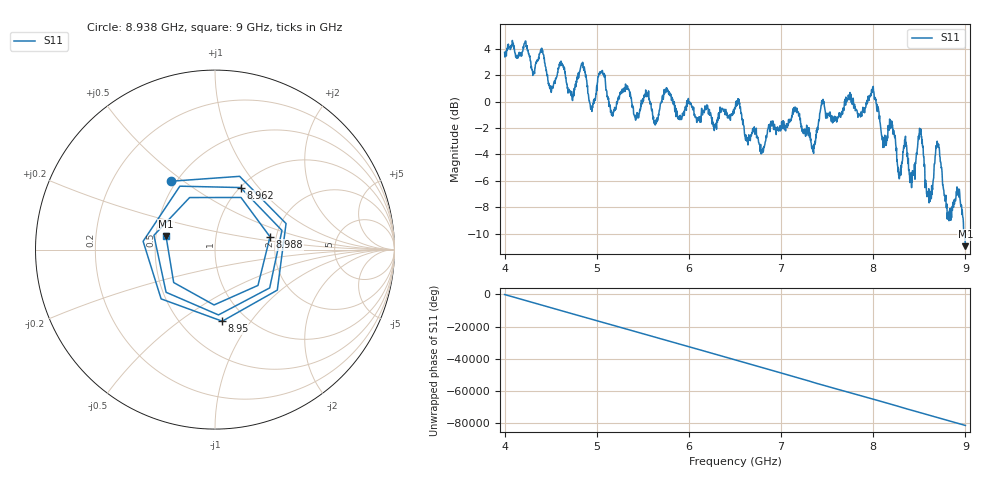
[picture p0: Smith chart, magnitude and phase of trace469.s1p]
! Created with skrf 1.8.0 (http://scikit-rf.org).
# Hz S RI R 50.0
!freq ReS11 ImS11
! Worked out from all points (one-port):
!   1601 points, 4 GHz to 9 GHz, reference 50 ohm
!   lowest |S11| = -11.0 dB at 9 GHz (marker M1), VSWR 1.79, Z = 28.3 + j4.66 ohm
!   |S11| at or under -10 dB: 8.987365 GHz to end of sweep
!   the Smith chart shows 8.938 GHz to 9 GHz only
!   S11 on the Smith chart (normalised r, x): 8.938 GHz: 0.47, +0.45; 8.95 GHz: 0.78, -0.74; 8.962 GHz: 1.01, +0.81; 8.988 GHz: 1.85, +0.29; 9 GHz: 0.57, +0.09
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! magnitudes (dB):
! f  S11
! 4 GHz  3.7
! 4.4 GHz  3.9
! 4.506 GHz  0.7
! 4.625 GHz  2.8
! 4.728 GHz  0.5
! 4.85 GHz  2.8
! 4.944 GHz  -0.3
! 5.047 GHz  2.2
! 5.25 GHz  0.5
! 5.875 GHz  -1.2
! 6.5 GHz  -0.6
! 6.794 GHz  -3.7
! 7.125 GHz  -0.8
! 7.35 GHz  -3.8
! 7.447 GHz  -0.1
! 7.75 GHz  0.3
! 7.997 GHz  1.0
! 8.281 GHz  -5.8
! 8.375 GHz  -4.7
! 8.516 GHz  -2.1
! 8.606 GHz  -7.7
! 8.7 GHz  -3.4
! 8.816 GHz  -8.7
! 8.938 GHz  -6.9
! 8.95 GHz  -7.9
! 8.962 GHz  -8.5
! 8.988 GHz  -10.0
! 9 GHz  -11.0
